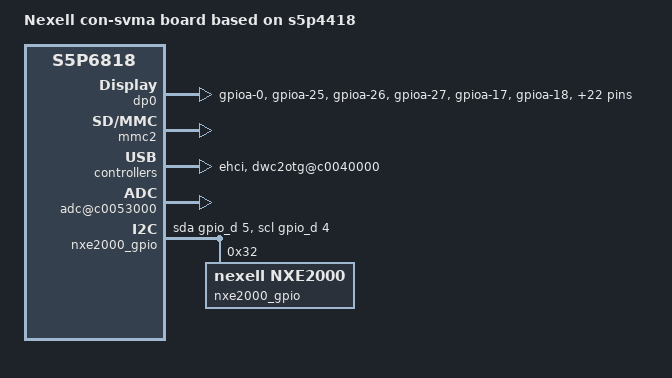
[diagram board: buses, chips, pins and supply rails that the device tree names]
/*
 * (C) Copyright 2019 Nexell
 * Sungwoo Park <swpark@nexell.co.kr>
 *
 * SPDX-License-Identifier:      GPL-2.0+
 */

/dts-v1/;
#include "s5p6818.dtsi"
#include "s5p6818-con-svma-nxe2000.dtsi"

/ {
	model = "Nexell con-svma board based on s5p4418";
	cpu-model = "s5p6818";

	compatible = "nexell,s5p6818";

	pinctrl@C0010000 {
		/delete-node/ gmac_txd;
		/delete-node/ gmac_rxd;
		/delete-node/ gmac_txen;
		/delete-node/ gmac_mdc;
		/delete-node/ gmac_mdio;
		/delete-node/ gmac_rxclk;
		/delete-node/ gmac_txclk;

		dp_rgb_vclk: dp-rgb-vclk {
			nexell,pins = "gpioa-0";
			nexell,pin-function = <1>;
			nexell,pin-pull = <2>;
			nexell,pin-strength = <0>;
		};

		dp_rgb_vsync: dp-rgb-vsync {
			nexell,pins = "gpioa-25";
			nexell,pin-function = <1>;
			nexell,pin-pull = <2>;
			nexell,pin-strength = <0>;
		};

		dp_rgb_hsync: dp-rgb-hsync {
			nexell,pins = "gpioa-26";
			nexell,pin-function = <1>;
			nexell,pin-pull = <2>;
			nexell,pin-strength = <0>;
		};

		dp_rgb_de: dp-rgb-de {
			nexell,pins = "gpioa-27";
			nexell,pin-function = <1>;
			nexell,pin-pull = <2>;
			nexell,pin-strength = <0>;
		};

		dp_rgb_B: dp-rgb-B {
			nexell,pins = "gpioa-1", "gpioa-2", "gpioa-3", "gpioa-4",
				      "gpioa-5", "gpioa-6", "gpioa-7", "gpioa-8";
			nexell,pin-function = <1>;
			nexell,pin-pull = <2>;
			nexell,pin-strength = <0>;
		};

		dp_rgb_G: dp-rgb-G {
			nexell,pins = "gpioa-9", "gpioa-10", "gpioa-11", "gpioa-12",
				      "gpioa-13", "gpioa-14", "gpioa-15", "gpioa-16";
			nexell,pin-function = <1>;
			nexell,pin-pull = <2>;
			nexell,pin-strength = <0>;
		};

		dp_rgb_R: dp-rgb-R {
			nexell,pins = "gpioa-17", "gpioa-18", "gpioa-19", "gpioa-20",
				      "gpioa-21", "gpioa-22", "gpioa-23", "gpioa-24";
			nexell,pin-function = <1>;
			nexell,pin-pull = <2>;
			nexell,pin-strength = <0>;
		};
	};

	dp0:dp@c0102800 {
		#address-cells = <1>;
		#size-cells = <0>;
		compatible = "nexell,nexell-display";
		reg = <0xc0102800 0x100>;
		index = <0>;
		status = "okay";

		module = <0>;
		lcd-type = "rgb";

		pinctrl-names = "default";
		pinctrl-0 = <&dp_rgb_vclk &dp_rgb_vsync &dp_rgb_hsync
			&dp_rgb_de &dp_rgb_R &dp_rgb_G &dp_rgb_B>;

		dp-device {
			format = <0>;
		};

		dp-sync {
			h_active_len = <1920>;
			h_front_porch = <30>;
			h_back_porch = <30>;
			h_sync_width = <4>;

			v_active_len = <720>;
			v_front_porch = <10>;
			v_back_porch = <10>;
			v_sync_width = <2>;

			h_sync_invert = <1>;
			v_sync_invert = <1>;
			pixelclk-active = <1>;
			de-active = <1>;
		};

		dp-ctrl {
			clk_src_lv0 = <0>;
			clk_div_lv0 = <9>;
			clk_src_lv1 = <7>;
			clk_div_lv1 = <1>;
			out_format = <3>;
		};

		dp-planes {
			layer_top {
				screen_width = <1920>;
				screen_height = <720>;
				back_color = <0x0>;
			};

			layer_1 {
				fb_base = <0x7E000000>;
				width = <1920>;
				height = <720>;
				format = <0x06530000>;
				pixel_byte = <4>;
			};
		};
	};

	mmc0:mmc@c0062000 {
		frequency = <50000000>;
		nexell,drive_dly = <0x0>;
		nexell,drive_shift = <0x03>;
		nexell,sample_dly = <0x00>;
		nexell,sample_shift = <0x02>;
		status = "disable";
	};

	mmc2:mmc@c0069000 {
		frequency = <50000000>;
		nexell,drive_dly = <0x0>;
		nexell,drive_shift = <0x03>;
		nexell,sample_dly = <0x00>;
		nexell,sample_shift = <0x02>;
		nexell,bus-width = <8>;
		index = <2>;
		status = "okay";
	};

	ehci:usbhost@c0030000 {
		status = "okay";
	};

	dwc2otg@c0040000 {
		status = "okay";
	};

	adc@c0053000 {
		#address-cells = <1>;
		#size-cells = <0>;
		compatible = "nexell,s5p6818-adc";
		reg = <0xc0053000 0x100>;
		u-boot,dm-pre-reloc;
		status = "okay";
	};

	nxe2000_gpio:i2c_gpio@0 {
		compatible = "i2c-gpio";
		#address-cells = <1>;
		#size-cells = <0>;
		gpios = <&gpio_d 5 1>,	/* SDA */
			<&gpio_d 4 1>;	/* SCL */

		i2c-gpio,delay-us = <3>;
		nxe2000_gpio@32 {
			compatible = "nexell,nxe2000";
			reg = <0x32>;
		};
	};
};
